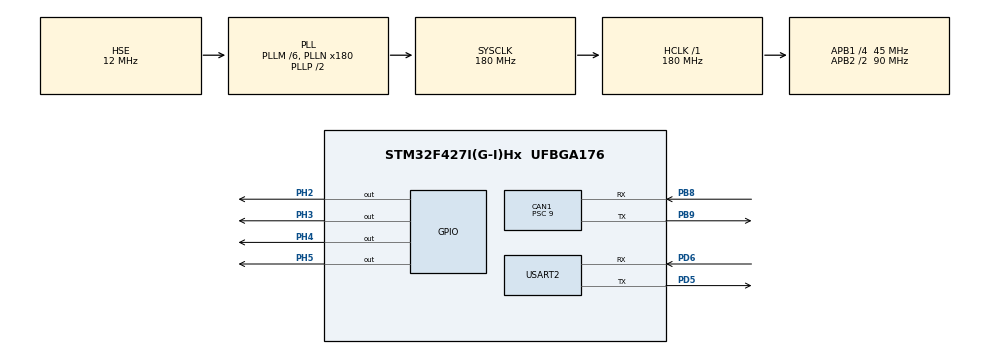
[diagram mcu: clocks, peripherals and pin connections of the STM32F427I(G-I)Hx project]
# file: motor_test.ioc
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CAN1.ABOM=ENABLE
CAN1.BS1=CAN_BS1_2TQ
CAN1.BS2=CAN_BS2_2TQ
CAN1.CalculateBaudRate=1000000
CAN1.CalculateTimeBit=1000
CAN1.CalculateTimeQuantum=200.0
CAN1.Prescaler=9
Dma.Request0=USART2_RX
Dma.Request1=USART2_TX
Dma.USART2_RX.0.Direction=DMA_PERIPH_TO_MEMORY
Dma.USART2_RX.0.FIFOMode=DMA_FIFOMODE_DISABLE
Dma.USART2_RX.0.Instance=DMA1_Stream5
Dma.USART2_RX.0.MemDataAlignment=DMA_MDATAALIGN_BYTE
Dma.USART2_RX.0.MemInc=DMA_MINC_ENABLE
Dma.USART2_RX.0.Mode=DMA_NORMAL
Dma.USART2_RX.0.PeriphDataAlignment=DMA_PDATAALIGN_BYTE
Dma.USART2_RX.0.PeriphInc=DMA_PINC_DISABLE
Dma.USART2_RX.0.Priority=DMA_PRIORITY_LOW
Dma.USART2_TX.1.Direction=DMA_MEMORY_TO_PERIPH
Dma.USART2_TX.1.FIFOMode=DMA_FIFOMODE_DISABLE
Dma.USART2_TX.1.Instance=DMA1_Stream6
Dma.USART2_TX.1.MemDataAlignment=DMA_MDATAALIGN_BYTE
Dma.USART2_TX.1.MemInc=DMA_MINC_ENABLE
Dma.USART2_TX.1.Mode=DMA_NORMAL
Dma.USART2_TX.1.PeriphDataAlignment=DMA_PDATAALIGN_BYTE
Dma.USART2_TX.1.PeriphInc=DMA_PINC_DISABLE
Dma.USART2_TX.1.Priority=DMA_PRIORITY_LOW
Mcu.Family=STM32F4
Mcu.Name=STM32F427I(G-I)Hx
Mcu.Package=UFBGA176
NVIC.CAN1_RX0_IRQn=true\:0\:0\:false\:false\:true\:true\:true\:true
NVIC.CAN1_RX1_IRQn=true\:0\:0\:false\:false\:true\:true\:true\:true
NVIC.DMA1_Stream5_IRQn=true\:0\:0\:false\:false\:true\:false\:true\:true
NVIC.DMA1_Stream6_IRQn=true\:0\:0\:false\:false\:true\:false\:true\:true
NVIC.PriorityGroup=NVIC_PRIORITYGROUP_4
NVIC.USART2_IRQn=true\:0\:0\:false\:false\:true\:true\:true\:true
PA13.Mode=Serial_Wire
PA13.Signal=SYS_JTMS-SWDIO
PA14.Mode=Serial_Wire
PA14.Signal=SYS_JTCK-SWCLK
PB8.Mode=CAN_Activate
PB8.Signal=CAN1_RX
PB9.Mode=CAN_Activate
PB9.Signal=CAN1_TX
PD5.Mode=Asynchronous
PD5.Signal=USART2_TX
PD6.Mode=Asynchronous
PD6.Signal=USART2_RX
PH0/OSC_IN.Mode=HSE-External-Oscillator
PH0/OSC_IN.Signal=RCC_OSC_IN
PH1/OSC_OUT.Mode=HSE-External-Oscillator
PH1/OSC_OUT.Signal=RCC_OSC_OUT
PH2.Signal=GPIO_Output
PH3.Signal=GPIO_Output
PH4.Signal=GPIO_Output
PH5.Signal=GPIO_Output
ProjectManager.HeapSize=0x200
ProjectManager.StackSize=0x400
ProjectManager.TargetToolchain=MDK-ARM V5.32
RCC.48MHZClocksFreq_Value=90000000
RCC.AHBFreq_Value=180000000
RCC.APB1CLKDivider=RCC_HCLK_DIV4
RCC.APB1Freq_Value=45000000
RCC.APB1TimFreq_Value=90000000
RCC.APB2CLKDivider=RCC_HCLK_DIV2
RCC.APB2Freq_Value=90000000
RCC.APB2TimFreq_Value=180000000
RCC.CortexFreq_Value=180000000
RCC.HCLKFreq_Value=180000000
RCC.HSE_VALUE=12000000
RCC.HSI_VALUE=16000000
RCC.LSE_VALUE=32768
RCC.PLLM=6
RCC.PLLN=180
RCC.PLLSourceVirtual=RCC_PLLSOURCE_HSE
RCC.SYSCLKFreq_VALUE=180000000
RCC.SYSCLKSource=RCC_SYSCLKSOURCE_PLLCLK
RCC.VCOOutputFreq_Value=360000000
USART2.VirtualMode=VM_ASYNC
board=custom

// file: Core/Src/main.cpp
/* USER CODE BEGIN Header */
/**
  ******************************************************************************
  * @file           : main.c
  * @brief          : Main program body
  ******************************************************************************
  * @attention
  *
  * Copyright (c) 2025 STMicroelectronics.
  * All rights reserved.
  *
  * This software is licensed under terms that can be found in the LICENSE file
  * in the root directory of this software component.
  * If no LICENSE file comes with this software, it is provided AS-IS.
  *
  ******************************************************************************
  */
/* USER CODE END Header */
#include "main.h"
#include "can.h"
#include "dma.h"
#include "usart.h"
#include "gpio.h"

/* USER CODE BEGIN Includes */

#include "dvc_serialplot.h"
#include "drv_bsp.h"
#include "dvc_motor.h"

/* USER CODE END Includes */

/* USER CODE BEGIN PV */

Class_Serialplot serialplot;
Class_Motor_C620 motor;

float Target_Angle, Now_Angle, Target_Omega, Now_Omega;

uint32_t Counter = 0;

static char Variable_Assignment_List[][SERIALPLOT_RX_VARIABLE_ASSIGNMENT_MAX_LENGTH] = {
  // 电机调PID
  "pa",
  "ia",
  "da",
  "po",
  "io",
  "do",
};

/* USER CODE END PV */

void SystemClock_Config(void);

/* USER CODE BEGIN 0 */

void CAN_Motor_Call_Back(Struct_CAN_Rx_Buffer *Rx_Buffer)
{
  switch(Rx_Buffer->Header.StdId)
  {
    case (0x201):
    {
        motor.CAN_RxCpltCallback(Rx_Buffer->Data);
    }
    break;
  }
}

void UART_Serialplot_Call_Back(uint8_t *Buffer, uint16_t Length)
{
  serialplot.UART_RxCpltCallback(Buffer);
  switch(serialplot.Get_Variable_Index())
  {
    case(0):
      {
        motor.PID_Angle.Set_K_P(serialplot.Get_Variable_Value());
      }
      break;
    case(1):
      {
        motor.PID_Angle.Set_K_I(serialplot.Get_Variable_Value());
      }
      break;
    case(2):
      {
        motor.PID_Angle.Set_K_D(serialplot.Get_Variable_Value());
      }
      break;
    case(3):
      {
        motor.PID_Omega.Set_K_P(serialplot.Get_Variable_Value());
      }
      break;
    case(4):
      {
        motor.PID_Omega.Set_K_I(serialplot.Get_Variable_Value());
      }
      break;
    case(5):
      {
        motor.PID_Omega.Set_K_D(serialplot.Get_Variable_Value());
      }
      break;
  }
}

/* USER CODE END 0 */

int main(void)
{

  /* MCU Configuration--------------------------------------------------------*/

  /* Reset of all peripherals, Initializes the Flash interface and the Systick. */
  HAL_Init();

  /* Configure the system clock */
  SystemClock_Config();

  /* Initialize all configured peripherals */
  MX_GPIO_Init();
  MX_DMA_Init();
  MX_CAN1_Init();
  MX_USART2_UART_Init();
  /* USER CODE BEGIN 2 */

  // 使能24v
  BSP_Init(BSP_DC24_LU_ON | BSP_DC24_LD_ON | BSP_DC24_RU_ON | BSP_DC24_RD_ON);
  // CAN初始化
  CAN_Init(&hcan1,CAN_Motor_Call_Back);
  // uart初始化
  UART_Init(&huart2, NULL, SERIALPLOT_RX_VARIABLE_ASSIGNMENT_MAX_LENGTH);

  serialplot.Init(&huart2, 6, (char **)Variable_Assignment_List);

  motor.PID_Angle.Init(0.0f, 0.0f, 0.0f, 0.0f, 15.0f * PI, 15.0f * PI);
  motor.PID_Omega.Init(0.0f, 0.0f, 0.0f ,0.0f, 2500.0f, 2500.0f);
  motor.Init(&hcan1, CAN_Motor_ID_0x201, Control_Method_ANGLE, 1.0f);

  /* USER CODE END 2 */

  /* Infinite loop */
  /* USER CODE BEGIN WHILE */
  while (1)
  {
    //如果计时到2000就换一个目标值
    if(Counter >= 2000)
    {
      Counter = 0;
      if(motor.Get_Target_Angle() == 4.0f * PI)
      {
          motor.Set_Target_Angle(0.0f);
      }
      else if(motor.Get_Target_Angle() == 0.0f)
      {
          motor.Set_Target_Angle(4.0f * PI);
      }
    }
    // 串口绘图显示内容

    Target_Angle = motor.Get_Target_Angle();
    Now_Angle = motor.Get_Now_Angle();
    Target_Omega = motor.Get_Target_Omega();
    Now_Omega = motor.Get_Now_Omega();
    serialplot.Set_Data(4, &Target_Angle, &Now_Angle, &Target_Omega, &Now_Omega);
    serialplot.TIM_Write_PeriodElapsedCallback();

    // 输出数据到电机
    motor.TIM_PID_PeriodElapsedCallback();

    //通信设备回调数据
    TIM_CAN_PeriodElapsedCallback();
    TIM_UART_PeriodElapsedCallback();

    // 延时1ms
    HAL_Delay(0);
    /* USER CODE END WHILE */

  }
}

void SystemClock_Config(void)
{
  RCC_OscInitTypeDef RCC_OscInitStruct = {0};
  RCC_ClkInitTypeDef RCC_ClkInitStruct = {0};

  /** Configure the main internal regulator output voltage
  */
  __HAL_RCC_PWR_CLK_ENABLE();
  __HAL_PWR_VOLTAGESCALING_CONFIG(PWR_REGULATOR_VOLTAGE_SCALE1);

  /** Initializes the RCC Oscillators according to the specified parameters
  * in the RCC_OscInitTypeDef structure.
  */
  RCC_OscInitStruct.OscillatorType = RCC_OSCILLATORTYPE_HSE;
  RCC_OscInitStruct.HSEState = RCC_HSE_ON;
  RCC_OscInitStruct.PLL.PLLState = RCC_PLL_ON;
  RCC_OscInitStruct.PLL.PLLSource = RCC_PLLSOURCE_HSE;
  RCC_OscInitStruct.PLL.PLLM = 6;
  RCC_OscInitStruct.PLL.PLLN = 180;
  RCC_OscInitStruct.PLL.PLLP = RCC_PLLP_DIV2;
  RCC_OscInitStruct.PLL.PLLQ = 4;
  if (HAL_RCC_OscConfig(&RCC_OscInitStruct) != HAL_OK)
  {
    Error_Handler();
  }

  /** Activate the Over-Drive mode
  */
  if (HAL_PWREx_EnableOverDrive() != HAL_OK)
  {
    Error_Handler();
  }

  /** Initializes the CPU, AHB and APB buses clocks
  */
  RCC_ClkInitStruct.ClockType = RCC_CLOCKTYPE_HCLK|RCC_CLOCKTYPE_SYSCLK
                              |RCC_CLOCKTYPE_PCLK1|RCC_CLOCKTYPE_PCLK2;
  RCC_ClkInitStruct.SYSCLKSource = RCC_SYSCLKSOURCE_PLLCLK;
  RCC_ClkInitStruct.AHBCLKDivider = RCC_SYSCLK_DIV1;
  RCC_ClkInitStruct.APB1CLKDivider = RCC_HCLK_DIV4;
  RCC_ClkInitStruct.APB2CLKDivider = RCC_HCLK_DIV2;

  if (HAL_RCC_ClockConfig(&RCC_ClkInitStruct, FLASH_LATENCY_5) != HAL_OK)
  {
    Error_Handler();
  }
}

void Error_Handler(void)
{
  __disable_irq();
  while (1)
  {
  }
}
